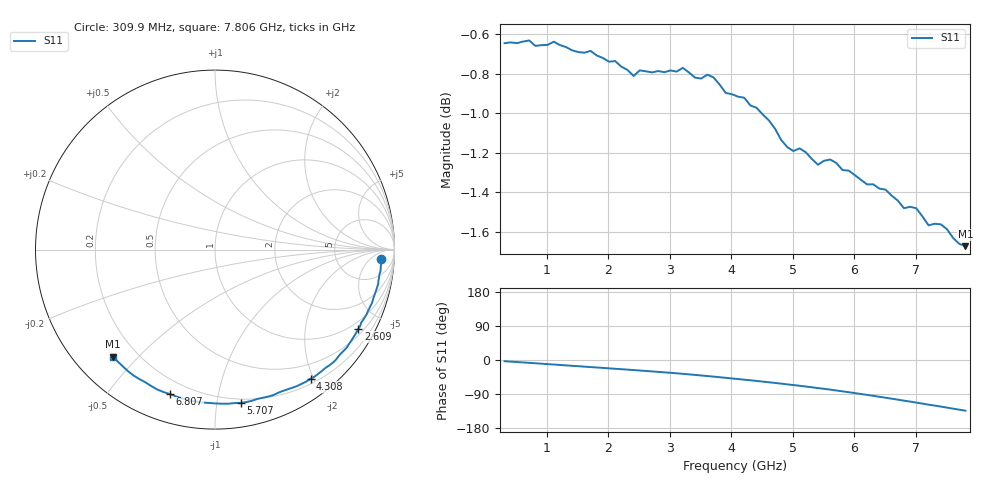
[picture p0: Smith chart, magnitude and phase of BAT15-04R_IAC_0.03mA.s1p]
! Infineon Technologies  Discrete & RF Semiconductors
! BAT15-04R
! IAC = 0.03 mA
! One-Port S-Parameters
# Hz  S  MA  R  50
!f  S11
!Hz  Mag  Ang
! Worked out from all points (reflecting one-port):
!   76 points, 309.9 MHz to 7.806 GHz, reference 50 ohm
!   lowest |S11| = -1.7 dB at 7.806 GHz (marker M1), VSWR 10.41, Z = 5.67 - j21.1 ohm
!   phase of S11 starts at -3 deg and turns -131 deg over the sweep
!   S11 on the Smith chart (normalised r, x): 309.9 MHz: 17, -13; 2.609 GHz: 0.70, -3.75; 4.308 GHz: 0.27, -1.95; 5.707 GHz: 0.17, -1.17; 6.807 GHz: 0.13, -0.73; 7.806 GHz: 0.11, -0.42
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3.0985e8  0.9283 -3.2
7.0965e8  0.9297 -7.5
1.10945e9  0.9291 -11.9
1.30935e9  0.9262 -14.2
1.70915e9  0.9241 -18.6
2.2089e9  0.9157 -24.3
2.4088e9  0.9107 -26.5
2.6087e9  0.9132 -29.0
3.0085e9  0.9136 -33.7
3.2084e9  0.915 -36.5
3.70815e9  0.91 -43.8
4.10795e9  0.8998 -50.3
4.30785e9  0.8952 -53.5
4.6077e9  0.8875 -58.7
5.0075e9  0.8717 -66.1
5.2074e9  0.8712 -69.9
5.6072e9  0.8675 -78.2
5.70715e9  0.8657 -80.4
6.007e9  0.8596 -87.3
6.30685e9  0.855 -94.5
6.50675e9  0.8524 -99.5
6.70665e9  0.8469 -104.7
6.8066e9  0.8432 -107.3
6.90655e9  0.8439 -109.8
7.0065e9  0.8432 -112.4
7.4063e9  0.8353 -122.9
7.6062e9  0.8287 -128.4
7.8061e9  0.8247 -133.7
